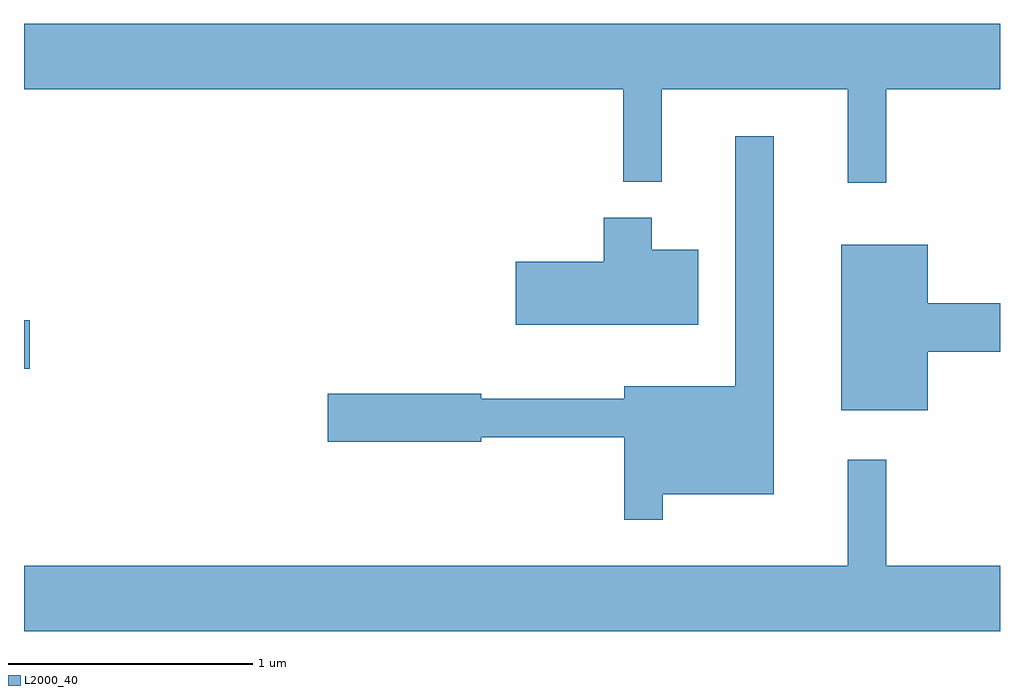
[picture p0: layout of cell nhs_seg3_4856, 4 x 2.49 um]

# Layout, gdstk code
import gdstk
lib = gdstk.Library(unit=1e-6, precision=1e-09)
def R(c, l, rs):  # rectangles x0, y0, x1, y1
    for r in rs: c.add(gdstk.rectangle(r[:2], r[2:], *l))
def P(c, l, *ps):  # polygons
    for p in ps: c.add(gdstk.Polygon(p, *l))
L2000_40 = (2000, 40)

nhs_seg3_4856 = lib.new_cell('nhs_seg3_4856')
R(nhs_seg3_4856, L2000_40, [(327.611,1178.151,327.634,1178.349)])
P(nhs_seg3_4856, L2000_40, [(331.144,1179.296),(331.611,1179.296),(331.611,1179.564),(327.611,1179.564),(327.611,1179.296),(330.066,1179.296),(330.066,1178.918),(330.224,1178.918),(330.224,1179.296),(330.986,1179.296),(330.986,1178.913),(331.144,1178.913)],
  [(330.229,1177.636),(330.684,1177.636),(330.684,1179.103),(330.526,1179.103),(330.526,1178.079),(330.071,1178.079),(330.071,1178.029),(329.484,1178.029),(329.484,1178.049),(328.856,1178.049),(328.856,1177.851),(329.484,1177.851),(329.484,1177.871),(330.071,1177.871),(330.071,1177.533),(330.229,1177.533)],
  [(330.374,1178.639),(330.184,1178.639),(330.184,1178.769),(329.986,1178.769),(329.986,1178.589),(329.626,1178.589),(329.626,1178.331),(330.374,1178.331)],
  [(331.314,1178.221),(331.611,1178.221),(331.611,1178.419),(331.314,1178.419),(331.314,1178.659),(330.961,1178.659),(330.961,1177.981),(331.314,1177.981)],
  [(331.611,1177.344),(331.144,1177.344),(331.144,1177.778),(330.986,1177.778),(330.986,1177.344),(327.611,1177.344),(327.611,1177.076),(331.611,1177.076)])

lib.write_gds('nhs_seg3_4856.gds')
